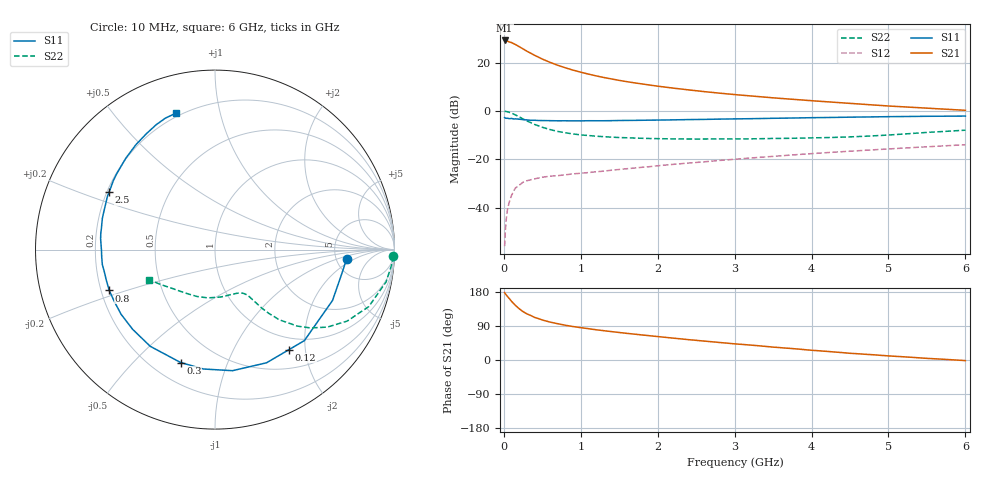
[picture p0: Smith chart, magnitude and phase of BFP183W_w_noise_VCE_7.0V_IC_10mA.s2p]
! (c) 2017  Infineon Technologies AG, Munich
! Infineon Technologies  Discrete & RF Semiconductors
! BFP183W
! VCE =  7.0 V,  IC =  10 mA
! Common Emitter S-Parameters:  Jan 2017
# GHz  S  MA  R  50
!  f  S11  S21  S12  S22
! GHz  MAG  ANG  MAG  ANG  MAG  ANG  MAG  ANG
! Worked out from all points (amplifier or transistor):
!   77 points, 10 MHz to 6 GHz, reference 50 ohm
!   highest |S21| = 29.3 dB at 10 MHz (marker M1)
!   |S21| within 3 dB of that: start of sweep to 223.1 MHz
!   unconditionally stable (mu >= 1): 1.672 GHz to 3.885 GHz
!   at 130 MHz: K = 0.15, MSG = 30.4 dB, |S12| = -33.0 dB
!   at 2.2 GHz: K = 1.06, MAG = 14.3 dB, |S12| = -22.0 dB
!   at 6 GHz: K = 0.84, MSG = 7.1 dB, |S12| = -13.9 dB
!   lowest NFmin = 0.92 dB at 450 MHz
!   S11 on the Smith chart (normalised r, x): 10 MHz: 6.24, -1.39; 120 MHz: 0.79, -1.70; 300 MHz: 0.31, -0.69; 800 MHz: 0.23, -0.18; 2.5 GHz: 0.21, +0.24; 6 GHz: 0.18, +0.74
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0.01  0.7353 -4.0  29.09 177.9  0.0016 89.2  0.9932 -2.1
0.02  0.7192 -10.7  28.76 174.5  0.0034 90.8  0.9895 -4.4
0.05  0.7135 -23.4  28.05 167.0  0.0097 80.3  0.9702 -10.7
0.1  0.7107 -45.5  26.31 154.7  0.0179 69.9  0.9132 -20.4
0.12  0.6934 -53.4  25.3 150.7  0.0209 65.6  0.8808 -23.4
0.15  0.693 -65.5  24.04 144.2  0.0256 61.1  0.8373 -28.4
0.2  0.6816 -81.8  21.64 135.1  0.0292 54.9  0.7604 -34.6
0.25  0.6683 -95.5  19.44 127.6  0.0339 49.2  0.6893 -39.3
0.3  0.6577 -106.9  17.42 121.7  0.0362 45.8  0.6261 -42.9
0.4  0.6485 -123.8  14.32 112.4  0.0396 41.7  0.5305 -47.5
0.5  0.6386 -136.0  11.97 105.6  0.0428 39.2  0.4635 -49.9
0.6  0.6353 -145.5  10.26 100.1  0.0451 38.1  0.4158 -51.4
0.8  0.6317 -158.9  7.904 91.7  0.0481 39.0  0.3564 -52.9
0.9  0.6291 -164.0  7.062 88.3  0.0503 39.4  0.3376 -53.5
1.1  0.6332 -172.5  5.851 82.6  0.0535 41.7  0.3127 -54.6
1.5  0.6401 174.6  4.336 72.6  0.0621 44.5  0.2843 -58.4
2.1  0.6562 159.7  3.144 59.8  0.0765 48.2  0.2678 -67.8
2.5  0.6715 151.6  2.648 51.9  0.0866 49.7  0.2648 -76.2
3.1  0.6941 140.9  2.137 41.1  0.1038 50.0  0.2663 -89.6
4.1  0.735 125.7  1.604 24.3  0.1351 48.3  0.2814 -113.9
5.1  0.7712 114.4  1.252 9.6  0.1684 44.3  0.3281 -139.7
6  0.7908 105.9  1.041 -1.6  0.2016 39.4  0.4036 -155.6
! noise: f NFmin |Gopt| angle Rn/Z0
0.45  0.92  0.1  112  0.11
0.9  0.97  0.18  144  0.09
1.9  1.47  0.37  -176  0.07
2.4  1.72  0.44  -167  0.09
